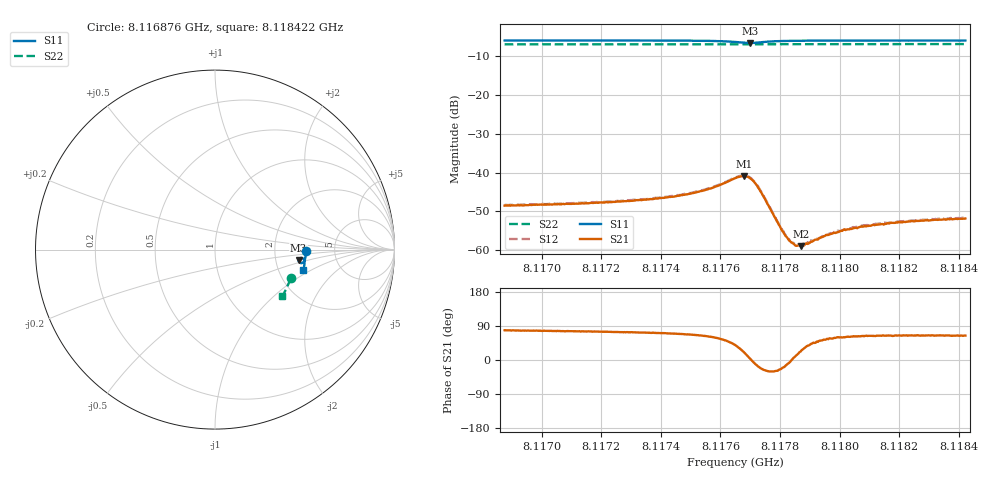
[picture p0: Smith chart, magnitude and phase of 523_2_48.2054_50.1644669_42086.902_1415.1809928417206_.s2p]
#  HZ  S  RI  R  50.00
! Rohde & Schwarz Vector Network Analyzer
! Rohde-Schwarz,ZNB20-2Port,1311601062101988,3.16
! Created: UTC 3/20/2024, 11:59:33 AM
! freq[Hz]  re:S11  im:S11  re:S21  im:S21  re:S12  im:S12  re:S22  im:S22
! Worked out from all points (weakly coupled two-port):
!   401 points, 8.116876 GHz to 8.118422 GHz, reference 50 ohm
!   highest |S21| = -40.87 dB at 8.11768 GHz (marker M1); lowest = -59.0 dB at 8.11787 GHz (marker M2)
!   lowest |S11| = -6.6 dB at 8.117699 GHz (marker M3), VSWR 2.77, Z = 135 - j20.2 ohm
!   |S11| at or under -10 dB: nowhere
!   |S22| runs from -6.9 to -6.8 dB; largest |S21 - S12| = 0.00022
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8.1168759e9  0.5067 -0.00615  0.000744 0.00367  0.000824 0.00373  0.4216 -0.1603
8.117135e9  0.5055 -0.0266  0.000992 0.00388  0.00105 0.00393  0.4155 -0.1773
8.117394e9  0.5027 -0.0485  0.0015 0.00441  0.00158 0.00445  0.4087 -0.1941
8.1174675e9  0.501 -0.0557  0.00184 0.00477  0.00192 0.00477  0.4066 -0.199
8.1175409e9  0.4976 -0.064  0.00255 0.00525  0.00264 0.00534  0.4043 -0.2036
8.1175989e9  0.4915 -0.0715  0.00388 0.00573  0.00396 0.00583  0.4024 -0.2074
8.1176492e9  0.4789 -0.0753  0.00651 0.00541  0.00659 0.00543  0.4003 -0.2104
8.1176801e9  0.4678 -0.0685  0.00851 0.00307  0.00867 0.00309  0.399 -0.2119
8.1176995e9  0.466 -0.0583  0.00846 0.000555  0.00865 0.000543  0.3986 -0.2126
8.1177149e9  0.4698 -0.0509  0.00737 -0.00114  0.00751 -0.0012  0.3983 -0.2132
8.1177343e9  0.478 -0.0466  0.00536 -0.0021  0.00548 -0.00218  0.3982 -0.2142
8.1178e9  0.4945 -0.0543  0.00183 -0.00085  0.00187 -0.000871  0.3968 -0.2187
8.1178232e9  0.4967 -0.0583  0.00143 -0.000307  0.00144 -0.000316  0.3963 -0.2202
8.1178464e9  0.4977 -0.0618  0.00119 0.000128  0.00123 6.36e-05  0.3956 -0.2219
8.1178696e9  0.4983 -0.0651  0.00104 0.000428  0.00106 0.000462  0.3949 -0.2232
8.1179082e9  0.4988 -0.0698  0.00093 0.000888  0.000939 0.000919  0.3936 -0.2258
8.1179624e9  0.4988 -0.0755  0.000902 0.00128  0.000884 0.00132  0.3918 -0.2294
8.1180088e9  0.4983 -0.0801  0.000904 0.00152  0.00093 0.00155  0.3903 -0.2322
8.1180822e9  0.4977 -0.0866  0.000926 0.0018  0.000973 0.00186  0.3877 -0.2368
8.1181673e9  0.4965 -0.0937  0.000946 0.00199  0.000967 0.00206  0.3847 -0.2419
8.1182021e9  0.4959 -0.0965  0.000973 0.00206  0.001 0.00213  0.3836 -0.2441
8.1184225e9  0.4923 -0.1138  0.0011 0.0023  0.00111 0.00236  0.3755 -0.2574
